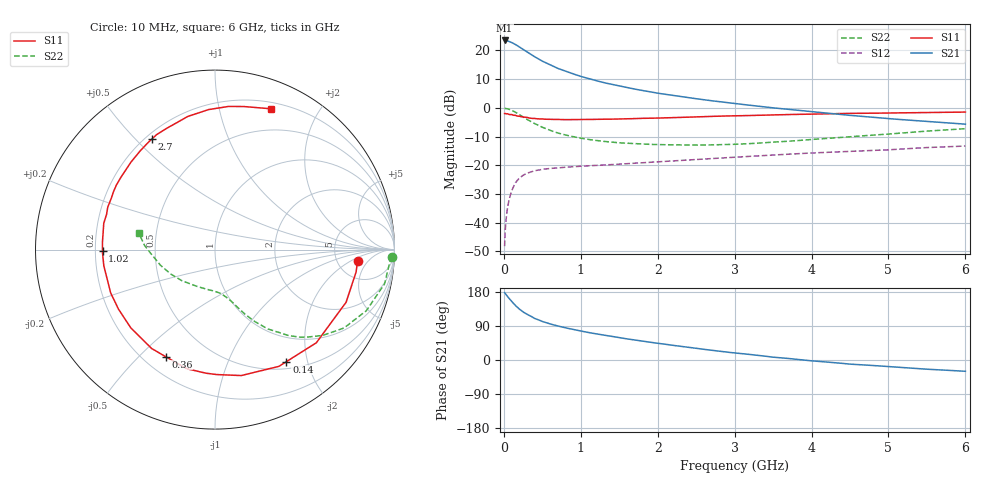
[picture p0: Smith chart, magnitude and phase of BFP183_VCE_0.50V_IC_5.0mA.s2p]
! Infineon Technologies  Discrete & RF Semiconductors
! BFP183
! VCE = 0.50V,  IC =  5.0 mA
! Common Emitter S-Parameters:  Jan 2016
# GHz  S  MA  R  50
!  f  S11  S21  S12  S22
! GHz  MAG  ANG  MAG  ANG  MAG  ANG  MAG  ANG
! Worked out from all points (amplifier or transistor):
!   210 points, 10 MHz to 6 GHz, reference 50 ohm
!   highest |S21| = 23.5 dB at 10 MHz (marker M1)
!   |S21| within 3 dB of that: start of sweep to 244.6 MHz
!   unconditionally stable (mu >= 1): 1.351 GHz to end of sweep
!   at 185 MHz: K = 0.18, MSG = 23.2 dB, |S12| = -25.0 dB
!   at 1.52 GHz: K = 1.08, MAG = 11.9 dB, |S12| = -19.6 dB
!   at 6 GHz: K = 1.15, MAG = 1.4 dB, |S12| = -13.3 dB
!   S11 on the Smith chart (normalised r, x): 10 MHz: 7.91, -2.71; 140 MHz: 0.60, -1.66; 360 MHz: 0.29, -0.60; 1.02 GHz: 0.23, -0.00; 2.7 GHz: 0.23, +0.56; 6 GHz: 0.26, +1.44
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0.01  0.7971 -4.5  14.92 177.6  0.0039 86.9  0.985 -2.3
0.025  0.7918 -11.1  14.84 173.8  0.0097 83.5  0.9721 -5.8
0.05  0.7871 -21.9  14.66 166.9  0.019 79.6  0.9639 -11.4
0.1  0.7669 -42.6  13.83 154.8  0.0354 68.4  0.9094 -22.0
0.14  0.7402 -57.5  12.91 146.2  0.0465 60.8  0.8535 -29.2
0.2  0.7169 -78.2  11.61 134.6  0.0595 52.2  0.7678 -38.5
0.22  0.7034 -83.6  11.12 131.6  0.0624 49.6  0.7378 -40.9
0.26  0.6904 -94.2  10.24 125.6  0.068 45.3  0.6821 -45.7
0.3  0.6821 -103.5  9.461 120.6  0.0725 42.0  0.6311 -49.4
0.36  0.6566 -114.8  8.411 114.6  0.0771 37.8  0.5712 -53.2
0.4  0.6545 -122.6  7.774 109.7  0.0804 35.3  0.533 -56.2
0.5  0.6405 -137.1  6.507 101.7  0.085 30.9  0.4594 -61.0
0.6  0.6318 -148.3  5.637 95.2  0.088 28.2  0.4046 -64.6
0.8  0.6227 -165.2  4.353 84.9  0.0925 25.2  0.3366 -69.4
1.02  0.6268 -179.5  3.469 75.7  0.0965 23.7  0.2931 -73.6
1.5  0.6425 158.5  2.401 58.8  0.1043 23.1  0.246 -82.7
2.02  0.6648 139.3  1.784 43.6  0.1153 23.2  0.2289 -94.1
2.7  0.7096 119.6  1.331 25.7  0.1306 22.3  0.2263 -113.1
3.1  0.7305 110.0  1.149 16.6  0.1405 21.1  0.2348 -125.3
4.1  0.7837 91.0  0.834 -3.7  0.1658 16.9  0.287 -153.8
5.1  0.8152 77.5  0.634 -18.6  0.1894 12.3  0.3577 -176.4
6  0.8444 68.2  0.52 -29.8  0.2162 5.5  0.4341 167.9
